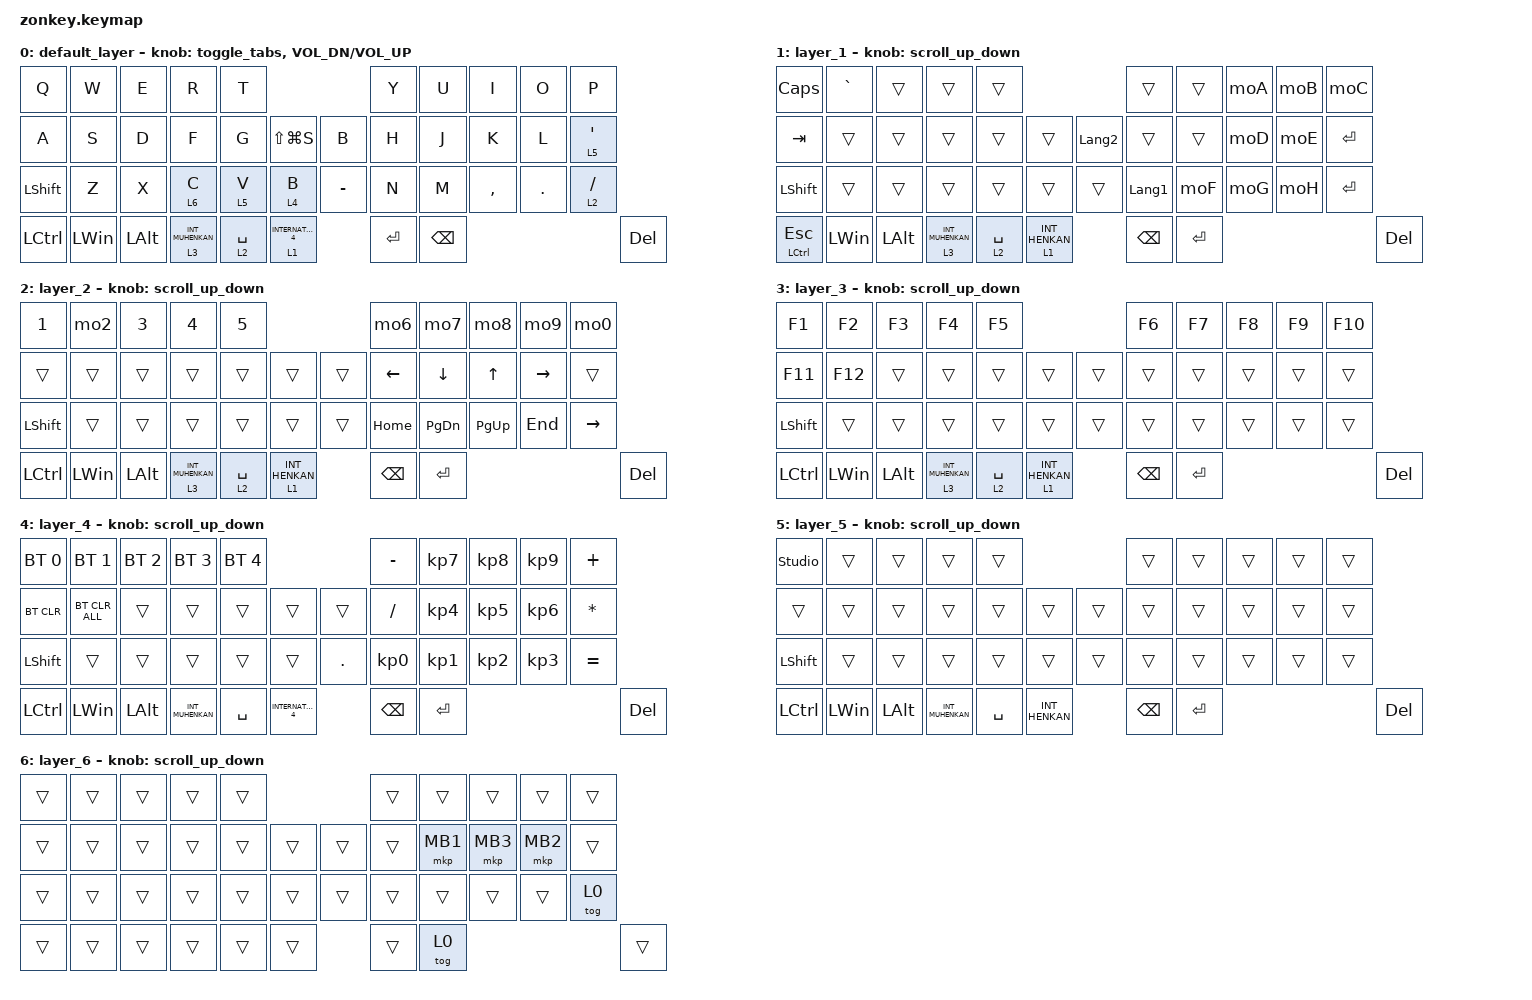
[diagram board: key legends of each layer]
#include <behaviors.dtsi>
#include <dt-bindings/zmk/bt.h>
#include <dt-bindings/zmk/keys.h>
#include <dt-bindings/zmk/pointing.h>

#define ZMK_POINTING_DEFAULT_SCRL_VAL 100
#define MOUSE 6
#define JP_DQUOTE       AT                // "
#define JP_AMPERSAND    CARET             // &
#define JP_QUOTE        AMPERSAND         // '
#define JP_EQUAL        UNDER             // =
#define JP_CARET        EQUAL             // ^
#define JP_YEN          0x89              // ¥
#define JP_PLUS         COLON             // +
#define JP_TILDE        PLUS              // ~
#define JP_PIPE         LS(0x89)          // |
#define JP_AT           LEFT_BRACKET      // @
#define JP_COLON        SINGLE_QUOTE      // :
#define JP_ASTERISK     DOUBLE_QUOTES     // *
#define JP_BACKQUOTE    LEFT_BRACE        // `
#define JP_UNDERSCORE   LS(0x87)          // _
#define JP_LBRACKET     RIGHT_BRACKET     // [
#define JP_RBRACKET     BACKSLASH         // ]
#define JP_LPAREN       ASTERISK          // (
#define JP_RPAREN       LEFT_PARENTHESIS  // )
#define JP_LBRACE       RIGHT_BRACE       // {
#define JP_RBRACE       PIPE              // }
#define JP_KANA         LANGUAGE_1        // かな
#define JP_EISU         LANGUAGE_2        // 英数
#define JP_HANZEN       GRAVE             // 半角/全角
#define JP_BSLH  INT1         // (backslash)

&mt {
    flavor = "balanced";
    quick-tap-ms = <0>;
};

/ {
    combos {
        compatible = "zmk,combos";

        esc {
            bindings = <&kp ESCAPE>;
            key-positions = <11 10>;
        };

        left_mouse_click_combo {
            bindings = <&mkp MB1>;
            key-positions = <18 19>;
        };

        right_mouse_click_combo {
            bindings = <&mkp MB2>;
            key-positions = <19 20>;
        };

        middle_mouse_click_combo {
            bindings = <&mkp MB3>;
            key-positions = <30 19>;
        };

        prev_click_combo {
            bindings = <&mkp MB4>;
            key-positions = <30 31>;
        };

        next_click_combo {
            bindings = <&mkp MB5>;
            key-positions = <31 32>;
        };

        tab_combo {
            bindings = <&kp TAB>;
            key-positions = <0 1>;
        };
    };

    mo2: mo2 {
        compatible = "zmk,behavior-mod-morph";
        #binding-cells = <0>;
        bindings = <&kp N2>, <&kp AT>;

        mods = <(MOD_LSFT|MOD_RSFT)>;
    };

    mo6: mo6 {
        compatible = "zmk,behavior-mod-morph";
        #binding-cells = <0>;
        bindings = <&kp N6>, <&kp CARET>;

        mods = <(MOD_LSFT|MOD_RSFT)>;
    };

    mo7: mo7 {
        compatible = "zmk,behavior-mod-morph";
        #binding-cells = <0>;
        bindings = <&kp N7>, <&kp AMPS>;

        mods = <(MOD_LSFT|MOD_RSFT)>;
    };

    mo8: mo8 {
        compatible = "zmk,behavior-mod-morph";
        #binding-cells = <0>;
        bindings = <&kp N8>, <&kp ASTRK>;

        mods = <(MOD_LSFT|MOD_RSFT)>;
    };

    mo9: mo9 {
        compatible = "zmk,behavior-mod-morph";
        #binding-cells = <0>;
        bindings = <&kp N9>, <&kp LPAR>;

        mods = <(MOD_LSFT|MOD_RSFT)>;
    };

    mo0: mo0 {
        compatible = "zmk,behavior-mod-morph";
        #binding-cells = <0>;
        bindings = <&kp N0>, <&kp LS(N9)>;

        mods = <(MOD_LSFT|MOD_RSFT)>;
    };

    moA: moA {
        compatible = "zmk,behavior-mod-morph";
        #binding-cells = <0>;
        bindings = <&kp MINUS>, <&kp UNDERSCORE>;

        mods = <(MOD_LSFT|MOD_RSFT)>;
    };

    moB: moB {
        compatible = "zmk,behavior-mod-morph";
        #binding-cells = <0>;
        bindings = <&kp EQUAL>, <&kp PLUS>;

        mods = <(MOD_LSFT|MOD_RSFT)>;
    };

    moC: moC {
        compatible = "zmk,behavior-mod-morph";
        #binding-cells = <0>;
        bindings = <&kp INT3>, <&kp JP_PIPE>;

        mods = <(MOD_LSFT|MOD_RSFT)>;
    };

    moD: moD {
        compatible = "zmk,behavior-mod-morph";
        #binding-cells = <0>;
        bindings = <&kp LBKT>, <&kp LBRC>;

        mods = <(MOD_LSFT|MOD_RSFT)>;
    };

    moE: moE {
        compatible = "zmk,behavior-mod-morph";
        #binding-cells = <0>;
        bindings = <&kp RBKT>, <&kp RBRC>;

        mods = <(MOD_LSFT|MOD_RSFT)>;
    };

    moF: moF {
        compatible = "zmk,behavior-mod-morph";
        #binding-cells = <0>;
        bindings = <&kp SEMI>, <&kp KP_PLUS>;

        mods = <(MOD_LSFT|MOD_RSFT)>;
    };

    moG: moG {
        compatible = "zmk,behavior-mod-morph";
        #binding-cells = <0>;
        bindings = <&kp APOSTROPHE>, <&kp DQT>;

        mods = <(MOD_LSFT|MOD_RSFT)>;
    };

    moH: moH {
        compatible = "zmk,behavior-mod-morph";
        #binding-cells = <0>;
        bindings = <&kp BACKSLASH>, <&kp TILDE2>;

        mods = <(MOD_LSFT|MOD_RSFT)>;
    };

    moI: moI {
        compatible = "zmk,behavior-mod-morph";
        #binding-cells = <0>;
        bindings = <&kp JP_BSLH>, <&kp JP_UNDERSCORE>;

        mods = <(MOD_LSFT|MOD_RSFT)>;
    };

    macros {
        to_layer_0: to_layer_0 {
            compatible = "zmk,behavior-macro-one-param";
            #binding-cells = <1>;
            bindings = <&to 0 &macro_param_1to1 &kp MACRO_PLACEHOLDER>;
            label = "TO_LAYER_0";
        };
    };

    behaviors {
        lt_to_layer_0: lt_to_layer_0 {
            compatible = "zmk,behavior-hold-tap";
            label = "LAYER_TAP_TO_0";
            bindings = <&mo>, <&to_layer_0>;

            #binding-cells = <2>;
            tapping-term-ms = <200>;
        };

        scroll_up_down: behavior_sensor_rotate_mouse_wheel_up_down {
            compatible = "zmk,behavior-sensor-rotate";
            #sensor-binding-cells = <0>;
            bindings = <&msc SCRL_DOWN>, <&msc SCRL_UP>;

            tap-ms = <20>;
        };

        toggle_tabs: toggle_tabs {
            compatible = "zmk,behavior-sensor-rotate";
            label = "TOGGLE_TABS";
            #sensor-binding-cells = <0>;
            bindings = <&kp LC(TAB)>, <&kp LC(LS(TAB))>;
        };
    };

    keymap {
        compatible = "zmk,keymap";

        default_layer {
            // -----------------------------------------------------------------------------------------
            // |  Q  |  W  |  E  |  R  |  T  |                        |  Y  |  U   |  I  |  O  |  P  | 
            // |  A  |  S  |  D  |  F  |  G  |LS(LG(S))|        　 | - |  H  |  J   |  K  |  L  |  `  | 
            // |SHIFT|  Z  |  X  |  C  |  V  |  B  |           | B |  N  |  M   |  ,  |  .  |  /  | 
            // | CTRL | WIN | ALT |HENKAN|SPACE|MUHENKAN|       | BS | ENT |      　　　　       | DEL |           

            bindings = <
&kp Q           &kp W         &kp E         &kp R               &kp T                                            &kp Y      &kp U     &kp I      &kp O       &kp P
&kp A           &kp S         &kp D         &kp F               &kp G        &kp LS(LG(S))            &kp B      &kp H      &kp J     &kp K      &kp L       &lt 5 SQT
&kp LEFT_SHIFT  &kp Z         &kp X         &lt 6 C             &lt 5 V      &lt 4 B                  &kp MINUS  &kp N      &kp M     &kp COMMA  &kp PERIOD  &lt 2 SLASH
&kp LCTRL       &kp LEFT_WIN  &kp LEFT_ALT  &lt 3 INT_MUHENKAN  &lt 2 SPACE  &lt 1 INTERNATIONAL_4               &kp ENTER  &kp BSPC                                      &kp DEL
            >;

            sensor-bindings = <&toggle_tabs>, <&inc_dec_kp C_VOL_DN C_VOL_UP>;
        };

        layer_1 {
            // -----------------------------------------------------------------------------------------
            // |CAPS　| 　　|     |     |                    　　　　　　 |     |     |  -  |  ^  |  ¥  |
            // | TAB |     |     |     |     |     |              |    |     |     |     |  @  |  [  |
            // |SHIFT|     |     |     |     |     |           　 | 英数 | かな |    |  ; |  :  |  ]  |
            // | CTRL| WIN | ALT |HENKAN|SPACE|MUHENKAN|         | BS | ENT |                   | DEL |

            bindings = <
&kp CAPSLOCK    &kp GRAVE     &trans        &trans              &trans                                        &trans         &trans     &moA  &moB  &moC
&kp TAB         &trans        &trans        &trans              &trans       &trans              &kp JP_EISU  &trans         &trans     &moD  &moE  &kp ENTER
&kp LEFT_SHIFT  &trans        &trans        &trans              &trans       &trans              &trans       &kp JP_KANA    &moF       &moG  &moH  &kp ENTER
&mt LCTL ESC    &kp LEFT_WIN  &kp LEFT_ALT  &lt 3 INT_MUHENKAN  &lt 2 SPACE  &lt 1 INT_HENKAN                 &kp BACKSPACE  &kp ENTER                         &kp DEL
            >;

            sensor-bindings = <&scroll_up_down>;
        };

        layer_2 {
            // -----------------------------------------------------------------------------------------
            // |  1  |  2  |  3  |  4  |  5  |                     |  6  |  7  |  8  |  9  |   0  |
            // |      |     |     |     |     |     |           |    |     |     |     |  ↑  |      |
            // |SHIFT|     |     |     |     |     |           |     |     |     |  ←  |  ↓  |  →  |
            // | CTRL| WIN | ALT |HENKAN|SPACE|MUHENKAN|         | BS | ENT |                   | DEL |

            bindings = <
&kp N1          &mo2          &kp N3        &kp N4              &kp N5                                   &mo6            &mo7            &mo8          &mo9             &mo0
&trans          &trans        &trans        &trans              &trans       &trans              &trans  &kp LEFT_ARROW  &kp DOWN_ARROW  &kp UP_ARROW  &kp RIGHT_ARROW  &trans
&kp LEFT_SHIFT  &trans        &trans        &trans              &trans       &trans              &trans  &kp HOME        &kp PAGE_DOWN   &kp PAGE_UP   &kp END          &kp RIGHT_ARROW
&kp LCTRL       &kp LEFT_WIN  &kp LEFT_ALT  &lt 3 INT_MUHENKAN  &lt 2 SPACE  &lt 1 INT_HENKAN            &kp BACKSPACE   &kp ENTER                                                       &kp DEL
            >;

            sensor-bindings = <&scroll_up_down>;
        };

        layer_3 {
            // -----------------------------------------------------------------------------------------
            // | F1  | F2  | F3  | F4  | F5  |                     | F6  | F7 | F8  | F9 | F10 |
            // | F11 | F12 |     |     |     |     |           |    |     |     |     |     |      |
            // |SHIFT|     |     |     |     |     |           |     |     |     |     |     |      |
            // | CTRL| WIN | ALT |HENKAN|SPACE|MUHENKAN|         | BS | ENT |                   | DEL |

            bindings = <
&kp F1          &kp F2        &kp F3        &kp F4              &kp F5                                   &kp F6         &kp F7     &kp F8  &kp F9  &kp F10
&kp F11         &kp F12       &trans        &trans              &trans       &trans              &trans  &trans         &trans     &trans  &trans  &trans
&kp LEFT_SHIFT  &trans        &trans        &trans              &trans       &trans              &trans  &trans         &trans     &trans  &trans  &trans
&kp LCTRL       &kp LEFT_WIN  &kp LEFT_ALT  &lt 3 INT_MUHENKAN  &lt 2 SPACE  &lt 1 INT_HENKAN            &kp BACKSPACE  &kp ENTER                           &kp DEL
            >;

            sensor-bindings = <&scroll_up_down>;
        };

        layer_4 {
            // -----------------------------------------------------------------------------------------
            // | BT0 | BT1 | BT2 | BT3 | BT4 |                        |  -  |  7  |  8  |  9  |  +  |
            // |BTCLR |     |     |     |     |     |                 |  /  |  4  |  5  |  6  |  *  | 
            // |SHIFT|     |     |     |     |     |           |  .  |  0  |  1  |  2  |   3  |  =  |
            // | CTRL| WIN | ALT |HENKAN|SPACE|MUHENKAN|        | BS | ENT |                  | DEL |

            bindings = <
&bt BT_SEL 0    &bt BT_SEL 1    &bt BT_SEL 2  &bt BT_SEL 3      &bt BT_SEL 4                                  &kp MINUS        &kp KP_NUMBER_7  &kp KP_NUMBER_8  &kp KP_NUMBER_9  &kp PLUS
&bt BT_CLR      &bt BT_CLR_ALL  &trans        &trans            &trans        &trans                 &trans   &kp SLASH        &kp KP_NUMBER_4  &kp KP_NUMBER_5  &kp KP_NUMBER_6  &kp ASTERISK
&kp LEFT_SHIFT  &trans          &trans        &trans            &trans        &trans                 &kp DOT  &kp KP_NUMBER_0  &kp KP_NUMBER_1  &kp KP_NUMBER_2  &kp KP_NUMBER_3  &kp EQUAL
&kp LCTRL       &kp LEFT_WIN    &kp LEFT_ALT  &kp INT_MUHENKAN  &kp SPACE     &kp INTERNATIONAL_4             &kp BACKSPACE    &kp ENTER                                                        &kp DEL
            >;

            sensor-bindings = <&scroll_up_down>;
        };

        layer_5 {
            // -----------------------------------------------------------------------------------------
            // |      |     |     |     |     |                     |     |     |     |     |      |
            // |      |     |     |     |     |     |           |    |     |     |     |     |      |
            // |SHIFT|     |     |     |     |     |          |     |     |     |     |     |      |
            // | CTRL| WIN | ALT |HENKAN|SPACE|MUHENKAN|        | BS | ENT |                  | DEL |

            bindings = <
&studio_unlock  &trans        &trans        &trans            &trans                               &trans         &trans     &trans  &trans  &trans
&trans          &trans        &trans        &trans            &trans     &trans            &trans  &trans         &trans     &trans  &trans  &trans
&kp LEFT_SHIFT  &trans        &trans        &trans            &trans     &trans            &trans  &trans         &trans     &trans  &trans  &trans
&kp LCTRL       &kp LEFT_WIN  &kp LEFT_ALT  &kp INT_MUHENKAN  &kp SPACE  &kp INT_HENKAN            &kp BACKSPACE  &kp ENTER                          &kp DEL
            >;

            sensor-bindings = <&scroll_up_down>;
        };

        layer_6 {
            bindings = <
&trans  &trans  &trans  &trans  &trans                    &trans  &trans    &trans    &trans    &trans
&trans  &trans  &trans  &trans  &trans  &trans    &trans  &trans  &mkp MB1  &mkp MB3  &mkp MB2  &trans
&trans  &trans  &trans  &trans  &trans  &trans    &trans  &trans  &trans    &trans    &trans    &tog 0
&trans  &trans  &trans  &trans  &trans  &trans            &trans  &tog 0                                &trans
            >;

            sensor-bindings = <&scroll_up_down>;
        };
    };
};
